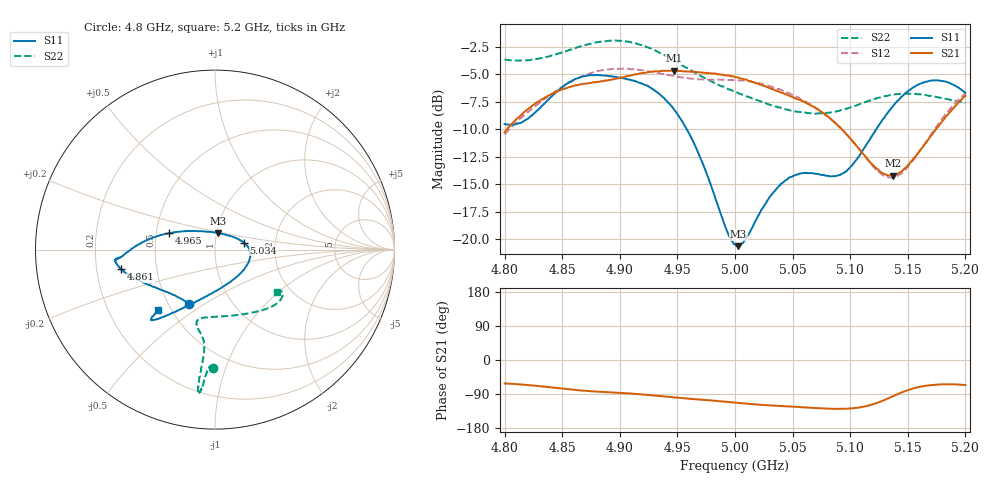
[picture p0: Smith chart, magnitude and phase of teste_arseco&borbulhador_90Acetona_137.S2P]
! Network Analyzer HP8722D
! Hewlett-Packard
! Data name: Linha & Wilkinson
! Saver's name: Rodrigo Anjos
! Comments: Teste da utilização de aquisição
! continua pelo VNA HP8722D
! Time and date: 17/4/2025 12:11
!  Frequency  S11  S21  S12  S22
# HZ  S  MA R 50
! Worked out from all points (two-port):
!   401 points, 4.8 GHz to 5.2 GHz, reference 50 ohm
!   highest |S21| = -4.66 dB at 4.947 GHz (marker M1); lowest = -14.2 dB at 5.137 GHz (marker M2)
!   |S21| within 3 dB of the highest: 4.826 GHz to 5.063 GHz (236.5 MHz wide, 4.78 % of centre); 5.193156 GHz to end of sweep
!   lowest |S11| = -20.6 dB at 5.003 GHz (marker M3), VSWR 1.21, Z = 51.1 + j9.4 ohm
!   |S11| at or under -10 dB: 4.958 GHz to 5.122 GHz (164.2 MHz wide, 3.26 % of centre)
!   |S22| runs from -8.6 to -1.9 dB; largest |S21 - S12| = 0.88
!   S11 on the Smith chart (normalised r, x): 4.8 GHz: 0.63, -0.43; 4.861 GHz: 0.31, -0.09; 4.965 GHz: 0.59, +0.12; 5.034 GHz: 1.38, +0.11; 5.2 GHz: 0.43, -0.37
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4.8e9  0.3345 -116.1  0.3071 -61.9  0.3009 -176.2  0.6576 -90.8
4.819e9  0.3512 -136.4  0.3867 -65.9  0.3746 -175.4  0.6523 -92.4
4.861e9  0.5354 -168.2  0.5007 -79.0  0.5329 -178.7  0.7387 -94.9
4.867e9  0.5489 -170.6  0.5077 -80.6  0.5505 -179.9  0.7583 -95.0
4.903e9  0.5405 -174.8  0.5456 -87.2  0.5981 173.2  0.7972 -96.6
4.934e9  0.4602 179.0  0.5808 -95.0  0.5712 170.5  0.7075 -96.9
4.947e9  0.3909 172.7  0.5851 -98.7  0.5542 170.8  0.651 -96.4
4.965e9  0.2696 160.1  0.5789 -103.3  0.5367 172.5  0.5738 -96.2
4.992e9  0.1128 116.6  0.5583 -110.1  0.5328 174.6  0.4878 -98.5
5e9  0.09467 89.6  0.5467 -112.6  0.5296 175.0  0.4689 -100.2
5.003e9  0.09321 78.3  0.5433 -113.2  0.5295 174.8  0.4621 -101.0
5.034e9  0.1653 13.7  0.478 -120.6  0.491 173.4  0.404 -103.7
5.049e9  0.1924 -0.8  0.4452 -122.9  0.4567 172.9  0.3854 -99.6
5.067e9  0.1999 -20.0  0.4038 -126.0  0.4077 172.6  0.3741 -89.8
5.085e9  0.194 -48.6  0.3464 -128.9  0.3459 173.1  0.3797 -75.9
5.097e9  0.2049 -72.7  0.2994 -128.6  0.3 174.7  0.3936 -66.2
5.121e9  0.307 -109.9  0.214 -115.7  0.212 -170.7  0.4351 -49.8
5.134e9  0.3854 -120.2  0.1953 -99.9  0.191 -152.8  0.4525 -43.3
5.137e9  0.4029 -121.9  0.1952 -95.8  0.1913 -148.1  0.4551 -42.1
5.148e9  0.4625 -126.8  0.2116 -81.7  0.2077 -131.9  0.4605 -38.0
5.17e9  0.5267 -131.8  0.295 -66.3  0.299 -112.5  0.4493 -32.9
5.2e9  0.4633 -133.0  0.45 -66.0  0.4605 -108.2  0.4173 -34.6
